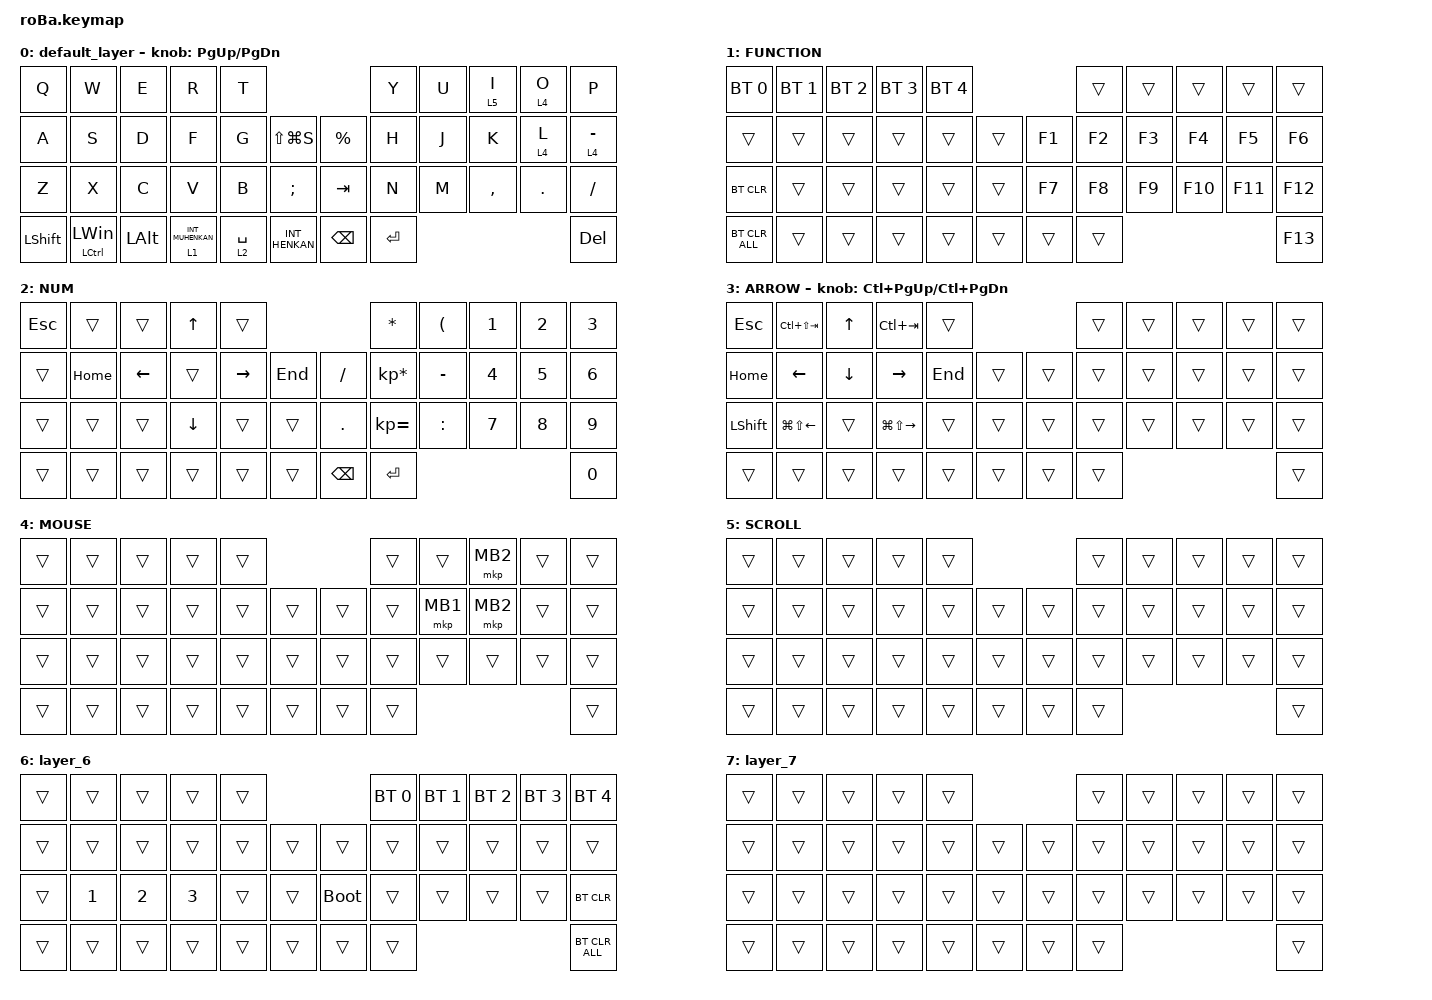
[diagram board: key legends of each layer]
#include <behaviors.dtsi>
#include <dt-bindings/zmk/bt.h>
#include <dt-bindings/zmk/keys.h>
#include <dt-bindings/zmk/pointing.h>

&mt {
    flavor = "balanced";
    quick-tap-ms = <0>;
};

&trackball {
    automouse-layer = <4>;
    scroll-layers = <5>;

    // arrows {
    //     layers = <3>;
    //     bindings =
    //         <&kp RIGHT_ARROW>,
    //         <&kp LEFT_ARROW>,
    //         <&kp UP_ARROW>,
    //         <&kp DOWN_ARROW>;
    //     tick = <10>;
    //     wait-ms = <5>;
    //     tap-ms = <5>;
    // };
};

/ {
    combos {
        compatible = "zmk,combos";

        tab {
            bindings = <&kp TAB>;
            key-positions = <11 12>;
        };

        shift_tab {
            bindings = <&kp LS(TAB)>;
            key-positions = <12 13>;
        };

        muhennkann {
            bindings = <&to_layer_0 INT_MUHENKAN>;
            key-positions = <11 10>;
        };

        double_quotation {
            bindings = <&kp DOUBLE_QUOTES>;
            key-positions = <20 21>;
        };

        eq {
            bindings = <&kp EQUAL>;
            key-positions = <24 25>;
        };
    };

    macros {
        to_layer_0: to_layer_0 {
            compatible = "zmk,behavior-macro-one-param";
            #binding-cells = <1>;
            bindings = <&to 0 &macro_param_1to1 &kp MACRO_PLACEHOLDER>;
            label = "TO_LAYER_0";
        };
    };

    behaviors {
        lt_to_layer_0: lt_to_layer_0 {
            compatible = "zmk,behavior-hold-tap";
            label = "LAYER_TAP_TO_0";
            bindings = <&mo>, <&to_layer_0>;

            #binding-cells = <2>;
            tapping-term-ms = <200>;
        };
    };

    keymap {
        compatible = "zmk,keymap";

        default_layer {
            bindings = <
&kp Q           &kp W               &kp E         &kp R                          &kp T                                           &kp Y      &kp U  &lt_to_layer_0 5 I  &lt 4 O  &kp P
&kp A           &kp S               &kp D         &kp F                          &kp G        &kp LS(LG(S))       &kp PERCENT    &kp H      &kp J  &kp K               &lt 4 L  &lt 4 MINUS
&kp Z           &kp X               &kp C         &kp V                          &kp B        &kp SEMICOLON       &kp TAB        &kp N      &kp M  &kp COMMA           &kp DOT  &kp SLASH
&kp LEFT_SHIFT  &mt LCTRL LEFT_WIN  &kp LEFT_ALT  &lt_to_layer_0 1 INT_MUHENKAN  &lt 2 SPACE  &kp INT_HENKAN      &kp BACKSPACE  &kp ENTER                                      &kp DEL
            >;

            sensor-bindings = <&inc_dec_kp PG_UP PAGE_DOWN>;
        };

        FUNCTION {
            bindings = <
&bt BT_SEL 0    &bt BT_SEL 1  &bt BT_SEL 2  &bt BT_SEL 3  &bt BT_SEL 4                      &trans  &trans  &trans   &trans   &trans
&trans          &trans        &trans        &trans        &trans        &trans      &kp F1  &kp F2  &kp F3  &kp F4   &kp F5   &kp F6
&bt BT_CLR      &trans        &trans        &trans        &trans        &trans      &kp F7  &kp F8  &kp F9  &kp F10  &kp F11  &kp F12
&bt BT_CLR_ALL  &trans        &trans        &trans        &trans        &trans      &trans  &trans                            &kp F13
            >;
        };

        NUM {
            bindings = <
&kp ESCAPE  &trans    &trans          &kp UP_ARROW    &trans                                       &kp ASTERISK     &kp LEFT_PARENTHESIS  &kp NUMBER_1  &kp NUMBER_2  &kp NUMBER_3
&trans      &kp HOME  &kp LEFT_ARROW  &trans          &kp RIGHT_ARROW  &kp END      &kp SLASH      &kp KP_ASTERISK  &kp MINUS             &kp NUMBER_4  &kp NUMBER_5  &kp NUMBER_6
&trans      &trans    &trans          &kp DOWN_ARROW  &trans           &trans       &kp PERIOD     &kp KP_EQUAL     &kp COLON             &kp NUMBER_7  &kp NUMBER_8  &kp NUMBER_9
&trans      &trans    &trans          &trans          &trans           &trans       &kp BACKSPACE  &kp ENTER                                                          &kp NUMBER_0
            >;
        };

        ARROW {
            bindings = <
&kp ESCAPE      &kp LC(LS(TAB))         &kp UP_ARROW    &kp LC(TAB)              &trans                       &trans  &trans  &trans  &trans  &trans
&kp HOME        &kp LEFT_ARROW          &kp DOWN_ARROW  &kp RIGHT_ARROW          &kp END  &trans      &trans  &trans  &trans  &trans  &trans  &trans
&kp LEFT_SHIFT  &kp LG(LS(LEFT_ARROW))  &trans          &kp LG(LS(RIGHT_ARROW))  &trans   &trans      &trans  &trans  &trans  &trans  &trans  &trans
&trans          &trans                  &trans          &trans                   &trans   &trans      &trans  &trans                          &trans
            >;

            sensor-bindings = <&inc_dec_kp LC(PAGE_UP) LC(PAGE_DOWN)>;
        };

        MOUSE {
            bindings = <
&trans  &trans  &trans  &trans  &trans                      &trans  &trans    &mkp MB2  &trans  &trans
&trans  &trans  &trans  &trans  &trans  &trans      &trans  &trans  &mkp MB1  &mkp MB2  &trans  &trans
&trans  &trans  &trans  &trans  &trans  &trans      &trans  &trans  &trans    &trans    &trans  &trans
&trans  &trans  &trans  &trans  &trans  &trans      &trans  &trans                              &trans
            >;
        };

        SCROLL {
            bindings = <
&trans  &trans  &trans  &trans  &trans                      &trans  &trans  &trans  &trans  &trans
&trans  &trans  &trans  &trans  &trans  &trans      &trans  &trans  &trans  &trans  &trans  &trans
&trans  &trans  &trans  &trans  &trans  &trans      &trans  &trans  &trans  &trans  &trans  &trans
&trans  &trans  &trans  &trans  &trans  &trans      &trans  &trans                          &trans
            >;
        };

        layer_6 {
            bindings = <
&trans  &trans        &trans        &trans        &trans                           &bt BT_SEL 0  &bt BT_SEL 1  &bt BT_SEL 2  &bt BT_SEL 3  &bt BT_SEL 4
&trans  &trans        &trans        &trans        &trans  &trans      &trans       &trans        &trans        &trans        &trans        &trans
&trans  &kp NUMBER_1  &kp NUMBER_2  &kp NUMBER_3  &trans  &trans      &bootloader  &trans        &trans        &trans        &trans        &bt BT_CLR
&trans  &trans        &trans        &trans        &trans  &trans      &trans       &trans                                                  &bt BT_CLR_ALL
            >;
        };

        layer_7 {
            bindings = <
&trans  &trans  &trans  &trans  &trans                      &trans  &trans  &trans  &trans  &trans
&trans  &trans  &trans  &trans  &trans  &trans      &trans  &trans  &trans  &trans  &trans  &trans
&trans  &trans  &trans  &trans  &trans  &trans      &trans  &trans  &trans  &trans  &trans  &trans
&trans  &trans  &trans  &trans  &trans  &trans      &trans  &trans                          &trans
            >;
        };
    };
};
